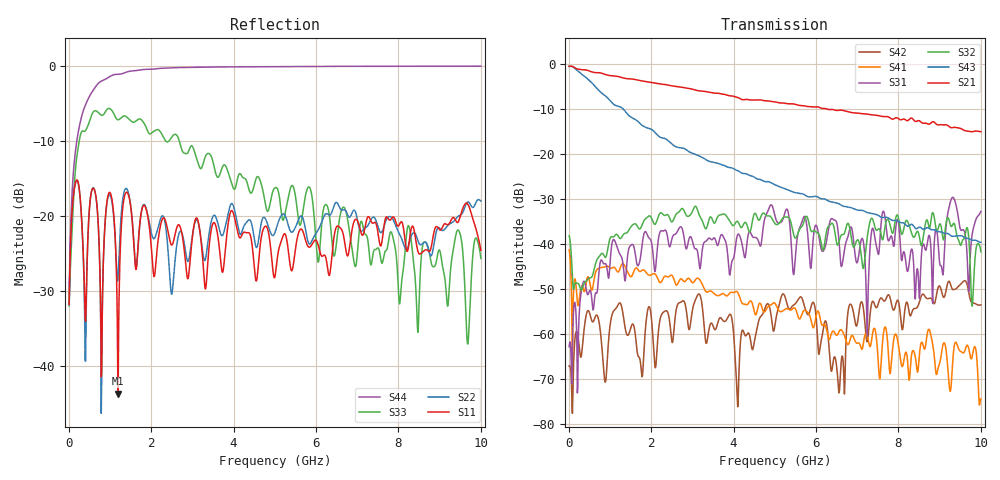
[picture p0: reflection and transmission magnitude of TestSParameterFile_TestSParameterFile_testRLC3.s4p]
# MHz MA S R 50.0
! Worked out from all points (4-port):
!   1000 points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, 10 MHz to 10 GHz, reference 50 ohm
!   strongest paths, dB at 10 MHz, 2.51 GHz, 5.01 GHz, 7.51 GHz, 10 GHz:
!     S21: -0.4, -4.8, -8.3, -11.4, -14.9
!     S43: -0.4, -17.8, -26.8, -33.5, -39.5
!     S32: -38.1, -35.0, -35.4, -36.6, -41.7
!     S31: -62.7, -38.6, -33.9, -42.2, -32.7
!     S41: -41.2, -46.9, -53.2, -66.0, -74.3
!     S42: -67.0, -61.8, -57.5, -53.2, -53.4
!   lowest |S11| = -43.7 dB at 1.2 GHz (marker M1), VSWR 1.01, Z = 50.5 - j0.452 ohm
!   |S11| at or under -10 dB: start of sweep to end of sweep
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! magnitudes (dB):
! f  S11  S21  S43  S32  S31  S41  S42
! 10 MHz  -31.8  -0.4  -0.4  -38.1  -62.7  -41.2  -67.0
! 1.2 GHz  -43.7  -2.7  -9.3  -38.1  -41.3  -46.1  -53.4
! 1.74 GHz  -20.3  -3.6  -13.2  -36.4  -43.0  -46.0  -66.2
! 1.93 GHz  -20.4  -3.9  -14.2  -33.8  -38.3  -46.8  -54.1
! 6.55 GHz  -21.4  -10.2  -30.9  -39.6  -38.3  -59.5  -72.5
! 9.05 GHz  -21.7  -13.4  -37.3  -36.8  -45.1  -63.7  -50.6
! 10 GHz  -24.6  -14.9  -39.5  -41.7  -32.7  -74.3  -53.4
